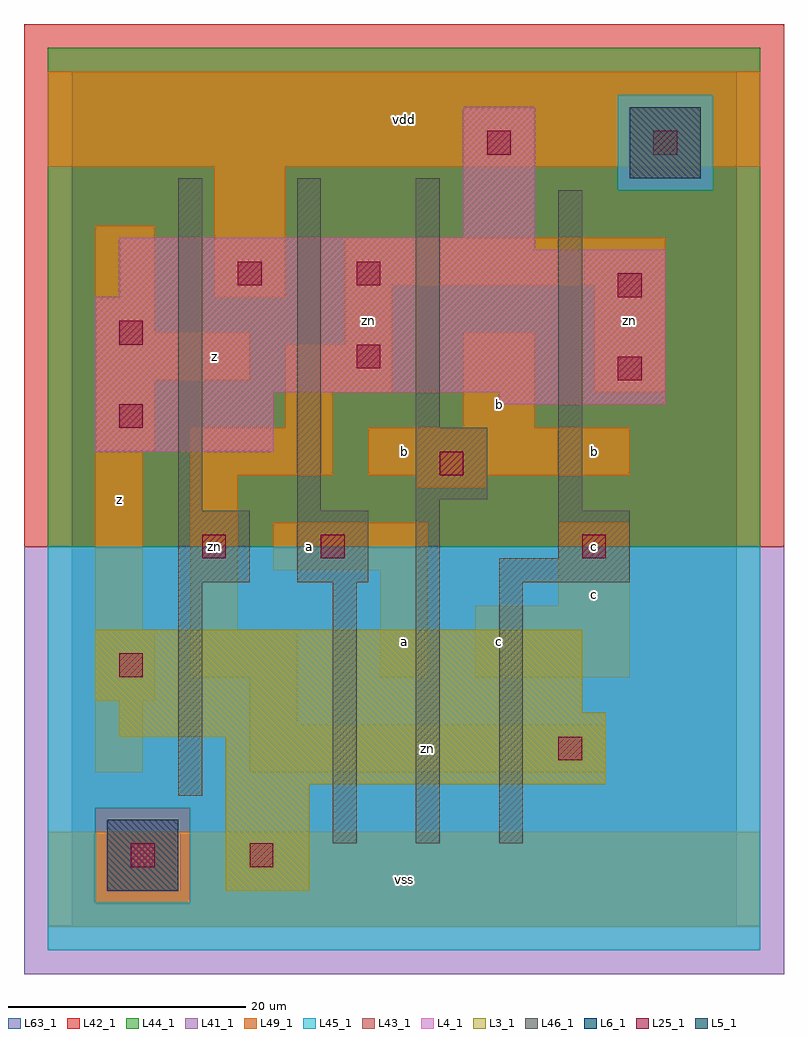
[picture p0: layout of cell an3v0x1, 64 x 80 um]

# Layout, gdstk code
import gdstk
lib = gdstk.Library(unit=1e-6, precision=1e-09)
def R(c, l, rs):  # rectangles x0, y0, x1, y1
    for r in rs: c.add(gdstk.rectangle(r[:2], r[2:], *l))
L3_1 = (3, 1)
L4_1 = (4, 1)
L5_1 = (5, 1)
L6_1 = (6, 1)
L25_1 = (25, 1)
L41_1 = (41, 1)
L42_1 = (42, 1)
L43_1 = (43, 1)
L44_1 = (44, 1)
L45_1 = (45, 1)
L46_1 = (46, 1)
L49_1 = (49, 1)
L63_1 = (63, 1)

an3v0x1 = lib.new_cell('an3v0x1')
R(an3v0x1, L3_1, [(13,3,20,12), (13,12,45,16), (4,16,45,18), (4,18,43,19), (2,19,43,25)])
R(an3v0x1, L4_1, [(2,40,17,45), (36,44,50,45), (2,45,50,53), (4,53,50,57), (4,57,39,58), (33,58,39,69)])
R(an3v0x1, L5_1, [(47,63,53,69)])
R(an3v0x1, L6_1, [(3,3,9,9), (3,3,9,9)])
R(an3v0x1, L25_1, [(5,5,7,7), (15,5,17,7), (41,14,43,16), (4,21,6,23), (11,31,13,33), (21,31,23,33), (43,31,45,33), (31,38,33,40), (4,42,6,44), (46,46,48,48), (24,47,26,49), (4,49,6,51), (46,53,48,55), (14,54,16,56), (24,54,26,56), (35,65,37,67), (49,65,51,67)])
R(an3v0x1, L41_1, [(-4,-4,60,32)])
R(an3v0x1, L42_1, [(-4,32,60,76)])
R(an3v0x1, L43_1, [(3,3,9,9), (13,3,20,12), (13,12,45,16), (4,16,45,18), (4,18,43,19), (2,19,43,25), (2,40,17,45), (36,44,50,45), (2,45,50,53), (4,53,50,57), (4,57,39,58), (33,58,39,69), (47,63,53,69)])
R(an3v0x1, L44_1, [(2,2,10,10), (-2,32,58,62), (-2,62,46,70), (54,62,58,70), (-2,70,58,74)])
R(an3v0x1, L45_1, [(-2,-2,58,2), (-2,2,2,10), (10,2,58,10), (-2,10,58,32), (46,62,54,70)])
R(an3v0x1, L46_1, [(22,7,24,29), (29,7,31,36), (36,7,38,29), (9,11,11,29), (9,29,15,35), (19,29,25,35), (36,29,47,31), (41,31,47,35), (9,35,11,63), (19,35,21,63), (41,35,43,62), (29,36,35,42), (29,42,31,63)])
R(an3v0x1, L49_1, [(-2,0,58,8), (2,13,6,19), (15,13,45,17), (15,17,19,21), (2,19,7,25), (10,21,19,25), (26,21,30,30), (34,21,47,27), (2,25,6,40), (10,25,14,38), (41,27,47,34), (17,30,30,34), (29,37,35,38), (10,38,22,42), (25,38,47,42), (2,40,7,46), (18,42,22,45), (33,42,39,50), (18,45,27,49), (44,45,50,54), (2,46,15,50), (23,49,27,54), (2,50,7,59), (12,53,18,64), (23,54,50,58), (-2,64,58,72)])
R(an3v0x1, L63_1, [(0,0,56,72)])
an3v0x1.add(gdstk.Label('zn', (12,32), layer=49, texttype=1))
an3v0x1.add(gdstk.Label('z', (4,36), layer=49, texttype=1))
an3v0x1.add(gdstk.Label('a', (20,32), layer=49, texttype=1))
an3v0x1.add(gdstk.Label('zn', (12,31), layer=49, texttype=1))
an3v0x1.add(gdstk.Label('z', (12,48), layer=49, texttype=1))
an3v0x1.add(gdstk.Label('zn', (25,51), layer=49, texttype=1))
an3v0x1.add(gdstk.Label('vss', (28,4), layer=49, texttype=1))
an3v0x1.add(gdstk.Label('a', (28,24), layer=49, texttype=1))
an3v0x1.add(gdstk.Label('c', (36,24), layer=49, texttype=1))
an3v0x1.add(gdstk.Label('b', (28,40), layer=49, texttype=1))
an3v0x1.add(gdstk.Label('b', (36,44), layer=49, texttype=1))
an3v0x1.add(gdstk.Label('vdd', (28,68), layer=49, texttype=1))
an3v0x1.add(gdstk.Label('zn', (30,15), layer=49, texttype=1))
an3v0x1.add(gdstk.Label('c', (44,28), layer=49, texttype=1))
an3v0x1.add(gdstk.Label('c', (44,32), layer=49, texttype=1))
an3v0x1.add(gdstk.Label('b', (44,40), layer=49, texttype=1))
an3v0x1.add(gdstk.Label('zn', (47,51), layer=49, texttype=1))

lib.write_gds('an3v0x1.gds')
